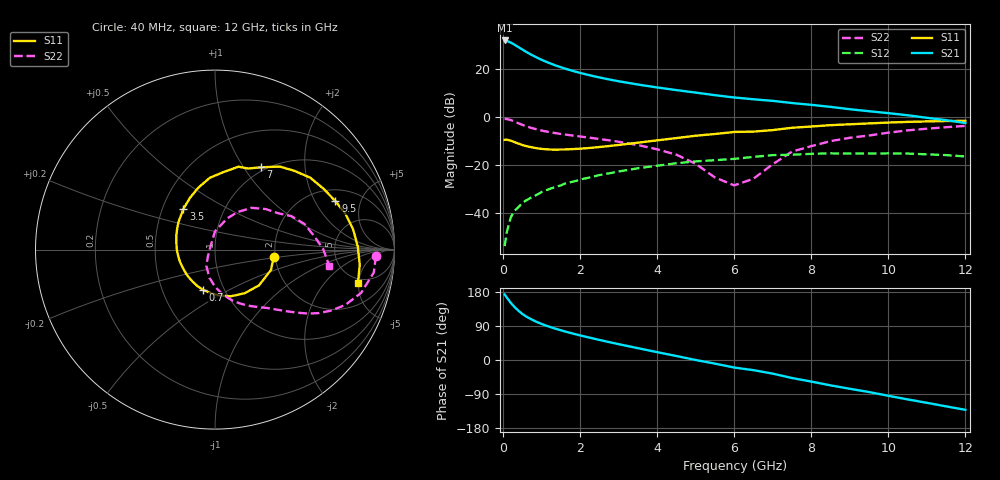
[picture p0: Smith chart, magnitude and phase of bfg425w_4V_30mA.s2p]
! Filename: 430bfg425.001
! BFG425W Field C1
! V1=8.371E-001V,V2=4.000E+000V, I1=3.822E-004A, I2=2.995E-002A
# GHz  S  MA  R 50
!  S11  S21  S12  S22
!Freq(GHz)  Mag  Ang  Mag  Ang  Mag  Ang  Mag  Ang
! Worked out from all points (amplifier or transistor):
!   44 points, 40 MHz to 12 GHz, reference 50 ohm
!   highest |S21| = 31.8 dB at 40 MHz (marker M1)
!   |S21| within 3 dB of that: start of sweep to 422.5 MHz
!   unconditionally stable (mu >= 1): start of sweep to 63.48 MHz; 1.129 GHz to end of sweep
!   at 700 MHz: K = 0.86, MSG = 30.0 dB, |S12| = -34.0 dB
!   at 2.4 GHz: K = 1.17, MAG = 18.2 dB, |S12| = -24.7 dB
!   at 12 GHz: K = 1.35, MAG = 3.4 dB, |S12| = -16.6 dB
!   S11 on the Smith chart (normalised r, x): 40 MHz: 1.96, -0.18; 700 MHz: 0.80, -0.38; 3.5 GHz: 0.64, +0.32; 7 GHz: 0.95, +1.20; 9.5 GHz: 2.63, +2.98; 12 GHz: 4.31, -4.89
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0.04  0.329 -7.3  38.74 173.0  0.002 47.2  0.897 -2.3
0.1  0.332 -19.9  37.77 164.5  0.004 70.2  0.894 -8.2
0.2  0.316 -39.1  35.07 150.8  0.008 70.2  0.849 -16.5
0.3  0.294 -55.8  31.55 139.6  0.011 68.4  0.789 -23.0
0.4  0.275 -71.0  28.15 129.9  0.013 66.9  0.729 -27.8
0.5  0.257 -84.7  25.09 121.5  0.016 65.1  0.677 -31.5
0.6  0.243 -96.3  22.44 114.8  0.018 64.0  0.632 -34.3
0.7  0.234 -106.5  20.21 109.1  0.02 63.0  0.594 -36.5
0.9  0.218 -124.5  16.71 99.3  0.024 61.9  0.537 -40.0
1.2  0.207 -145.3  13.11 87.8  0.031 60.2  0.478 -44.4
1.6  0.207 -167.4  10.1 75.5  0.04 57.5  0.425 -49.6
2.2  0.221 167.4  7.448 60.0  0.053 51.8  0.369 -58.3
2.8  0.247 147.4  5.864 46.2  0.067 44.9  0.317 -67.7
3.5  0.287 127.9  4.673 31.2  0.084 35.6  0.256 -79.9
4.5  0.358 104.9  3.577 10.5  0.107 20.8  0.161 -100.9
5.5  0.435 83.6  2.803 -9.6  0.124 5.2  0.054 -137.1
6.5  0.488 67.7  2.304 -26.8  0.145 -7.0  0.051 108.1
7  0.525 60.9  2.132 -36.0  0.158 -14.7  0.102 90.1
8.5  0.665 37.1  1.599 -66.9  0.172 -44.0  0.309 48.9
9.5  0.723 21.9  1.297 -84.6  0.17 -60.7  0.405 30.0
10.5  0.778 8.2  1.069 -104.0  0.17 -79.2  0.518 16.0
12  0.818 -13.3  0.737 -131.4  0.148 -109.2  0.643 -8.0
